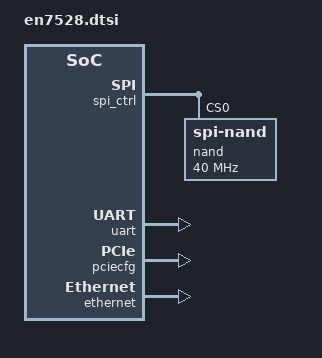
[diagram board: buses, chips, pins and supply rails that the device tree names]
// SPDX-License-Identifier: (GPL-2.0-only OR BSD-2-Clause)
/dts-v1/;

#include <dt-bindings/interrupt-controller/mips-gic.h>
#include <dt-bindings/clock/en7523-clk.h>
#include <dt-bindings/phy/phy.h>
#include <dt-bindings/reset/airoha,en7523-reset.h>

/ {
	compatible = "econet,en7528";
	#address-cells = <1>;
	#size-cells = <1>;

	hpt_clock: clock {
		compatible = "fixed-clock";
		#clock-cells = <0>;
		clock-frequency = <200000000>;  /* 200 MHz */
	};

	spi_clock: spi-clock {
		compatible = "fixed-clock";
		#clock-cells = <0>;
		clock-frequency = <40000000>;  /* 40 MHz */
	};

	cpus {
		#address-cells = <1>;
		#size-cells = <0>;

		cpu@0 {
			device_type = "cpu";
			compatible = "mips,mips1004Kc";
			reg = <0>;
		};

		cpu@1 {
			device_type = "cpu";
			compatible = "mips,mips1004Kc";
			reg = <1>;
		};
	};

	cpuintc: interrupt-controller {
		compatible = "mti,cpu-interrupt-controller";
		interrupt-controller;
		#address-cells = <0>;
		#interrupt-cells = <1>;
	};

	gic: interrupt-controller@1f8c0000 {
		compatible = "mti,gic";
		reg = <0x1f8c0000 0x20000>;

		interrupt-controller;
		#interrupt-cells = <3>;

		interrupt-parent = <&cpuintc>;
		interrupts = <2>;
	};

	pcie_phy0: pcie-phy@1faf2000 {
		compatible = "econet,en7528-pcie-gen1";
		reg = <0x1faf2000 0x1000>;
		#phy-cells = <0>;
	};

	pcie_phy1: pcie-phy@1fac0000 {
		compatible = "econet,en7528-pcie-gen2";
		reg = <0x1fac0000 0x1000>;
		#phy-cells = <0>;
	};

	gpio0: gpio@1fbf0200 {
		compatible = "airoha,en7523-gpio";
		reg = <0x1fbf0204 0x4>,
		      <0x1fbf0200 0x4>,
		      <0x1fbf0220 0x4>,
		      <0x1fbf0214 0x4>;
		gpio-controller;
		#gpio-cells = <2>;
	};

	gpio1: gpio@1fbf0270 {
		compatible = "airoha,en7523-gpio";
		reg = <0x1fbf0270 0x4>,
		      <0x1fbf0260 0x4>,
		      <0x1fbf0264 0x4>,
		      <0x1fbf0278 0x4>;
		gpio-controller;
		#gpio-cells = <2>;
	};

	scu: system-controller@1fb00000 {
		compatible = "airoha,en7523-scu";
		reg = <0x1fa20000 0x400>,
		      <0x1fb00000 0x1000>;
		#clock-cells = <1>;
		#reset-cells = <1>;
	};

	timer_hpt: timer@1fbf0400 {
		compatible = "econet,en7528-timer";
		reg = <0x1fbf0400 0x14>,
		      <0x1fbe0000 0x14>;

		interrupt-parent = <&gic>;
		interrupts = <GIC_SHARED 30 IRQ_TYPE_LEVEL_HIGH>,
			     <GIC_SHARED 29 IRQ_TYPE_LEVEL_HIGH>,
			     <GIC_SHARED 37 IRQ_TYPE_LEVEL_HIGH>,
			     <GIC_SHARED 36 IRQ_TYPE_LEVEL_HIGH>;

		clocks = <&hpt_clock>;
	};

	spi_ctrl: spi@1fa10000 {
		compatible = "airoha,en7581-snand";
		reg = <0x1fa10000 0x140>,
		      <0x1fa11000 0x160>;

		clocks = <&spi_clock>;
		clock-names = "spi";

		#address-cells = <1>;
		#size-cells = <0>;

		nand: nand@0 {
			compatible = "spi-nand";
			reg = <0>;
			spi-max-frequency = <40000000>;
			spi-tx-bus-width = <1>;
			spi-rx-bus-width = <2>;
		};
	};

	usb_phy: usb-phy@1fa80000 {
		compatible = "econet,en7528-usb-phy";
		reg = <0x1fa80000 0x1400>;
		#phy-cells = <1>;
	};

	usb: usb@1fb90000 {
		compatible = "econet,en7528-xhci";
		reg = <0x1fb90000 0x3e00>,
		      <0x1fb93e00 0x100>;
		reg-names = "mac", "ippc";
		interrupt-parent = <&gic>;
		interrupts = <GIC_SHARED 17 IRQ_TYPE_LEVEL_HIGH>;
		phys = <&usb_phy PHY_TYPE_USB2>, <&usb_phy PHY_TYPE_USB3>;
		usb3-lpm-capable;
		status = "disabled";
	};

	uart: serial@1fbf0000 {
		compatible = "airoha,en7523-uart";
		reg = <0x1fbf0000 0x30>;
		reg-io-width = <4>;
		reg-shift = <2>;

		interrupt-parent = <&gic>;
		interrupts = <GIC_SHARED 2 IRQ_TYPE_LEVEL_HIGH>;

		clock-frequency = <7372800>;
	};

	pciecfg: pciecfg@1fb80000 {
		compatible = "mediatek,generic-pciecfg", "syscon";
		reg = <0x1fb80000 0x1000>;
	};

	pcie0: pcie@1fb81000 {
		compatible = "econet,en7528-pcie";
		device_type = "pci";
		reg = <0x1fb81000 0x1000>;
		reg-names = "port0";
		linux,pci-domain = <0>;
		#address-cells = <3>;
		#size-cells = <2>;
		interrupt-parent = <&gic>;
		interrupts = <GIC_SHARED 23 IRQ_TYPE_LEVEL_HIGH>;
		interrupt-names = "pcie_irq";
		clocks = <&scu EN7523_CLK_PCIE>;
		clock-names = "sys_ck0";
		phys = <&pcie_phy0>;
		phy-names = "pcie-phy0";
		bus-range = <0x00 0xff>;
		ranges = <0x01000000 0 0x00000000 0x1f600000 0 0x00010000>,
			 <0x82000000 0 0x20000000 0x20000000 0 0x08000000>;
		status = "disabled";

		#interrupt-cells = <1>;
		interrupt-map-mask = <0 0 0 7>;
		interrupt-map = <0 0 0 1 &pcie_intc0 0>,
				<0 0 0 2 &pcie_intc0 1>,
				<0 0 0 3 &pcie_intc0 2>,
				<0 0 0 4 &pcie_intc0 3>;

		pcie_intc0: interrupt-controller {
			interrupt-controller;
			#address-cells = <0>;
			#interrupt-cells = <1>;
		};

		slot0: pcie@0,0 {
			reg = <0x0000 0 0 0 0>;
			#address-cells = <3>;
			#size-cells = <2>;
			ranges;
		};
	};

	pcie1: pcie@1fb83000 {
		compatible = "econet,en7528-pcie";
		device_type = "pci";
		reg = <0x1fb83000 0x1000>;
		reg-names = "port1";
		linux,pci-domain = <1>;
		#address-cells = <3>;
		#size-cells = <2>;
		interrupt-parent = <&gic>;
		interrupts = <GIC_SHARED 24 IRQ_TYPE_LEVEL_HIGH>;
		interrupt-names = "pcie_irq";
		clocks = <&scu EN7523_CLK_PCIE>;
		clock-names = "sys_ck1";
		phys = <&pcie_phy1>;
		phy-names = "pcie-phy1";
		bus-range = <0x00 0xff>;
		ranges = <0x01000000 0 0x00000000 0x1f610000 0 0x00010000>,
			 <0x82000000 0 0x28000000 0x28000000 0 0x08000000>;
		status = "disabled";

		#interrupt-cells = <1>;
		interrupt-map-mask = <0 0 0 7>;
		interrupt-map = <0 0 0 1 &pcie_intc1 0>,
				<0 0 0 2 &pcie_intc1 1>,
				<0 0 0 3 &pcie_intc1 2>,
				<0 0 0 4 &pcie_intc1 3>;

		pcie_intc1: interrupt-controller {
			interrupt-controller;
			#address-cells = <0>;
			#interrupt-cells = <1>;
		};

		slot1: pcie@1,0 {
			reg = <0x0800 0 0 0 0>;
			#address-cells = <3>;
			#size-cells = <2>;
			ranges;
		};
	};

	ethernet: ethernet@1fb50000 {
		compatible = "econet,en7528-eth";
		reg = <0x1fb50000 0x8000>;

		#address-cells = <1>;
		#size-cells = <0>;

		interrupt-parent = <&gic>;
		interrupts = <GIC_SHARED 21 IRQ_TYPE_LEVEL_HIGH>,
			     <GIC_SHARED 22 IRQ_TYPE_LEVEL_HIGH>;

		resets = <&scu EN7523_FE_RST>,
			 <&scu EN7523_FE_PDMA_RST>,
			 <&scu EN7523_FE_QDMA_RST>,
			 <&scu EN7523_XPON_MAC_RST>,
			 <&scu EN7523_XPON_PHY_RST>;
		reset-names = "fe", "qdma0", "qdma1",
			      "xpon-mac", "xpon-phy";

		gmac0: mac@0 {
			compatible = "econet,eth-mac";
			reg = <0>;
			phy-mode = "internal";
			status = "disabled";

			fixed-link {
				speed = <1000>;
				full-duplex;
				pause;
			};
		};

		gmac1: mac@1 {
			compatible = "econet,eth-mac";
			reg = <1>;
			phy-mode = "rgmii-rxid";
			status = "disabled";
		};
	};

	switch: ethernet-switch@1fb58000 {
		compatible = "econet,en7528-switch";
		reg = <0x1fb58000 0x8000>;
		resets = <&scu EN7523_GSW_RST>;

		status = "disabled";

		#address-cells = <1>;
		#size-cells = <0>;

		ethernet-ports {
			#address-cells = <1>;
			#size-cells = <0>;

			gsw_port1: ethernet-port@1 {
				reg = <1>;
				phy-mode = "internal";
				phy-handle = <&gsw_phy1>;
				status = "disabled";
			};

			gsw_port2: ethernet-port@2 {
				reg = <2>;
				phy-mode = "internal";
				phy-handle = <&gsw_phy2>;
				status = "disabled";
			};

			gsw_port3: ethernet-port@3 {
				reg = <3>;
				phy-mode = "internal";
				phy-handle = <&gsw_phy3>;
				status = "disabled";
			};

			gsw_port4: ethernet-port@4 {
				reg = <4>;
				phy-mode = "internal";
				phy-handle = <&gsw_phy4>;
				status = "disabled";
			};

			ethernet-port@6 {
				reg = <6>;
				ethernet = <&gmac0>;
				phy-mode = "internal";

				fixed-link {
					speed = <1000>;
					full-duplex;
					pause;
				};
			};
		};

		mdio {
			#address-cells = <1>;
			#size-cells = <0>;

			gsw_phy1: ethernet-phy@9 {
				compatible = "ethernet-phy-ieee802.3-c22";
				reg = <9>;
			};

			gsw_phy2: ethernet-phy@a {
				compatible = "ethernet-phy-ieee802.3-c22";
				reg = <10>;
			};

			gsw_phy3: ethernet-phy@b {
				compatible = "ethernet-phy-ieee802.3-c22";
				reg = <11>;
			};

			gsw_phy4: ethernet-phy@c {
				compatible = "ethernet-phy-ieee802.3-c22";
				reg = <12>;
			};
		};
	};
};
